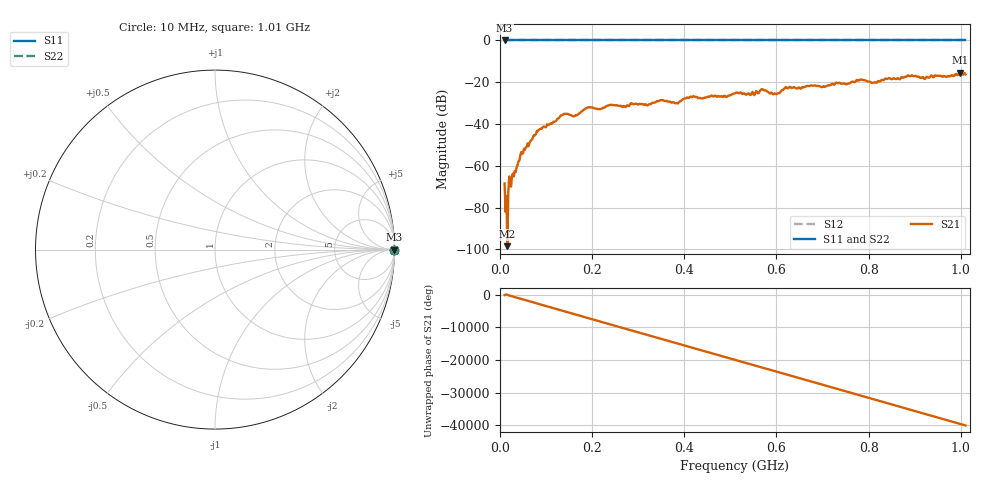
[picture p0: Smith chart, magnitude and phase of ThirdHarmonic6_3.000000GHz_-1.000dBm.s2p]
! 8/17/2025 8:34:37 AM
! C:\ANRITSUVNA\TEMP\TEMP.S2P
! CHANNEL.1
! TR.MEASUREMENT
! RAW.DATA
! RF.CORRECTION.OFF
! AVERAGING.OFF
! IF.BANDWIDTH: 5KHZ
! SWEEPTYPE:  FREQ.SWEEP(Linear)
! Reference Plane Port Info
! PORT:  PORT1  PORT2
! DISTANCE:  0  m  0  m
! TIME:  0  s  0  s
! PHASE.OFFSET:  0  deg.  0  deg.
! LOSS:  0  dB  0  dB
! REF.LOSS:  0  dB  0  dB
! REF.FREQ:  0  Hz  0  Hz
! Power Info
! POWER:  -20  dBm  -20  dBm
! EFF.POWER:  -20  dBm  -20  dBm
! SOURCE.ATTEN:  0  dB  0  dB
! TEST.ATTEN:  0  dB  0  dB
# GHZ S RI R 50.0
! FREQ.GHZ  S11RE  S11IM  S21RE  S21IM  S12RE  S12IM  S22RE  S22IM
!; PortSelection: Port_12
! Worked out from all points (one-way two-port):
!   501 points, 10 MHz to 1.01 GHz, reference 50 ohm
!   highest |S21| = -15.46 dB at 998 MHz (marker M1); lowest = -98.4 dB at 16 MHz (marker M2)
!   lowest |S11| = 0.0 dB at 10 MHz (marker M3)
!   |S11| at or under -10 dB: nowhere
!   |S22| runs from 0.0 to 0.0 dB; largest |S21 - S12| = 1.2
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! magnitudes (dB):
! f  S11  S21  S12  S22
! 10 MHz  0.0  -68.4  0.0  0.0
! 14 MHz  0.0  -74.4  0.0  0.0
! 16 MHz  0.0  -98.4  0.0  0.0
! 24 MHz  0.0  -70.0  0.0  0.0
! 48 MHz  0.0  -54.3  0.0  0.0
! 84 MHz  0.0  -42.8  0.0  0.0
! 136 MHz  0.0  -35.6  0.0  0.0
! 162 MHz  0.0  -36.2  0.0  0.0
! 178 MHz  0.0  -33.8  0.0  0.0
! 194 MHz  0.0  -31.9  0.0  0.0
! 344 MHz  0.0  -29.1  0.0  0.0
! 384 MHz  0.0  -30.0  0.0  0.0
! 416 MHz  0.0  -27.1  0.0  0.0
! 510 MHz  0.0  -25.3  0.0  0.0
! 548 MHz  0.0  -24.6  0.0  0.0
! 570 MHz  0.0  -23.3  0.0  0.0
! 596 MHz  0.0  -25.3  0.0  0.0
! 624 MHz  0.0  -22.9  0.0  0.0
! 678 MHz  0.0  -21.7  0.0  0.0
! 844 MHz  0.0  -18.0  0.0  0.0
! 998 MHz  0.0  -15.5  0.0  0.0
! 1.01 GHz  0.0  -16.3  0.0  0.0
